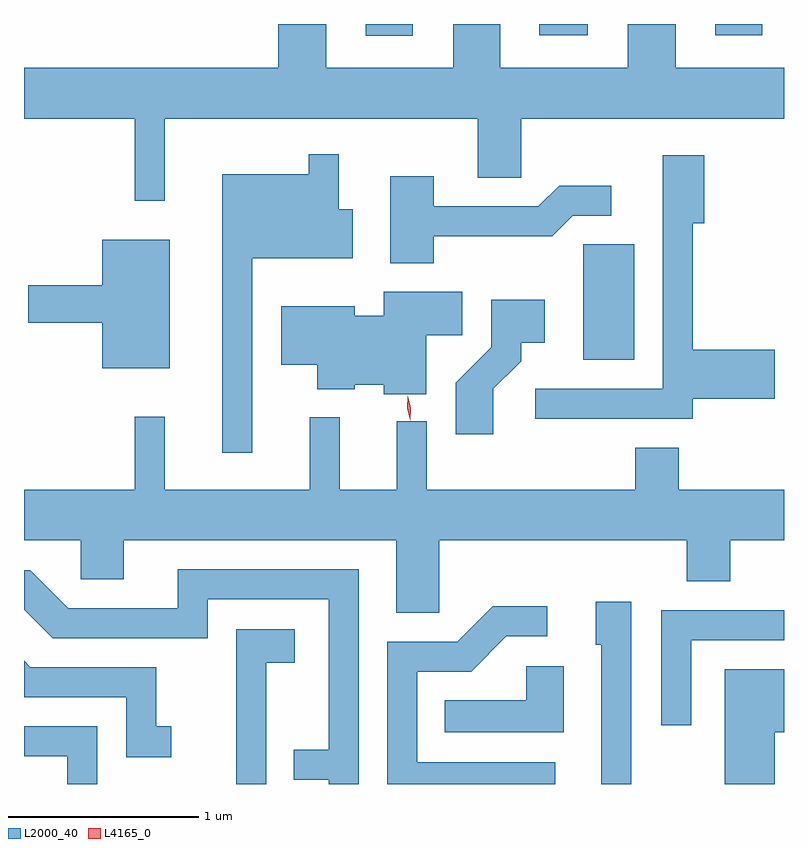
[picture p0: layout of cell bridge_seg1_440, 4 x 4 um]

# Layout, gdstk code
import gdstk
lib = gdstk.Library(unit=1e-6, precision=1e-09)
def R(c, l, rs):  # rectangles x0, y0, x1, y1
    for r in rs: c.add(gdstk.rectangle(r[:2], r[2:], *l))
def P(c, l, *ps):  # polygons
    for p in ps: c.add(gdstk.Polygon(p, *l))
L2000_40 = (2000, 40)
L4165_0 = (4165, 0)

bridge_seg1_440 = lib.new_cell('bridge_seg1_440')
R(bridge_seg1_440, L2000_40, [(344.356,847.246,344.624,847.854), (343.211,848.951,343.459,849.014), (344.126,848.956,344.379,849.014), (345.051,848.956,345.299,849.014)])
P(bridge_seg1_440, L2000_40, [(342.154,848.516),(343.801,848.516),(343.801,848.206),(344.029,848.206),(344.029,848.516),(345.413,848.516),(345.413,848.784),(344.844,848.784),(344.844,849.014),(344.591,849.014),(344.591,848.784),(343.919,848.784),(343.919,849.014),(343.671,849.014),(343.671,848.784),(343.004,848.784),(343.004,849.014),(342.751,849.014),(342.751,848.784),(341.413,848.784),(341.413,848.516),(341.996,848.516),(341.996,848.083),(342.154,848.083)],
  [(342.614,847.781),(343.144,847.781),(343.144,848.039),(343.069,848.039),(343.069,848.328),(342.911,848.328),(342.911,848.224),(342.456,848.224),(342.456,846.758),(342.614,846.758)],
  [(344.934,847.041),(345.364,847.041),(345.364,847.299),(344.934,847.299),(344.934,847.966),(344.994,847.966),(344.994,848.324),(344.776,848.324),(344.776,847.094),(344.103,847.094),(344.103,846.936),(344.934,846.936)],
  [(343.569,847.896),(344.192,847.896),(344.302,848.006),(344.503,848.006),(344.503,848.164),(344.229,848.164),(344.119,848.054),(343.569,848.054),(343.569,848.214),(343.341,848.214),(343.341,847.756),(343.569,847.756)],
  [(342.179,847.879),(341.826,847.879),(341.826,847.639),(341.436,847.639),(341.436,847.441),(341.826,847.441),(341.826,847.201),(342.179,847.201)],
  [(343.529,847.376),(343.719,847.376),(343.719,847.604),(343.306,847.604),(343.306,847.479),(343.154,847.479),(343.154,847.529),(342.766,847.529),(342.766,847.221),(342.956,847.221),(342.956,847.091),(343.154,847.091),(343.154,847.116),(343.306,847.116),(343.306,847.066),(343.529,847.066)],
  [(343.884,847.094),(344.013,847.222),(344.029,847.239),(344.029,847.336),(344.154,847.336),(344.154,847.564),(343.871,847.564),(343.871,847.312),(343.686,847.127),(343.686,846.856),(343.884,846.856)],
  [(343.599,846.296),(344.901,846.296),(344.901,846.081),(345.129,846.081),(345.129,846.296),(345.413,846.296),(345.413,846.564),(344.859,846.564),(344.859,846.784),(344.631,846.784),(344.631,846.564),(343.534,846.564),(343.534,846.923),(343.376,846.923),(343.376,846.564),(343.074,846.564),(343.074,846.943),(342.916,846.943),(342.916,846.564),(342.154,846.564),(342.154,846.948),(341.996,846.948),(341.996,846.564),(341.413,846.564),(341.413,846.296),(341.711,846.296),(341.711,846.091),(341.939,846.091),(341.939,846.296),(343.371,846.296),(343.371,845.916),(343.599,845.916)],
  [(343.174,846.144),(342.221,846.144),(342.221,845.939),(341.647,845.939),(341.447,846.139),(341.413,846.139),(341.413,845.932),(341.564,845.781),(342.379,845.781),(342.379,845.986),(343.016,845.986),(343.016,845.194),(342.833,845.194),(342.833,845.036),(343.016,845.036),(343.016,845.014),(343.174,845.014)],
  [(344.609,845.974),(344.421,845.974),(344.421,845.746),(344.451,845.746),(344.451,845.014),(344.609,845.014)],
  [(344.208,845.129),(343.484,845.129),(343.484,845.606),(343.767,845.606),(343.952,845.791),(344.168,845.791),(344.168,845.949),(343.879,845.949),(343.694,845.764),(343.326,845.764),(343.326,845.014),(344.208,845.014)],
  [(344.924,845.771),(345.413,845.771),(345.413,845.929),(344.766,845.929),(344.766,845.323),(344.924,845.323)],
  [(342.689,845.651),(342.839,845.651),(342.839,845.829),(342.531,845.829),(342.531,845.014),(342.689,845.014)],
  [(342.188,845.319),(342.109,845.319),(342.109,845.629),(341.447,845.629),(341.413,845.663),(341.413,845.471),(341.951,845.471),(341.951,845.156),(342.188,845.156)],
  [(344.254,845.634),(344.056,845.634),(344.056,845.454),(343.628,845.454),(343.628,845.286),(344.254,845.286)],
  [(345.364,845.286),(345.413,845.286),(345.413,845.619),(345.101,845.619),(345.101,845.014),(345.364,845.014)],
  [(341.799,845.319),(341.413,845.319),(341.413,845.161),(341.641,845.161),(341.641,845.014),(341.799,845.014)])
P(bridge_seg1_440, L4165_0, [(343.446,846.928),(343.445,846.929),(343.43,846.992),(343.433,847.057),(343.433,847.058),(343.434,847.057),(343.449,846.994),(343.446,846.929)])

lib.write_gds('bridge_seg1_440.gds')
